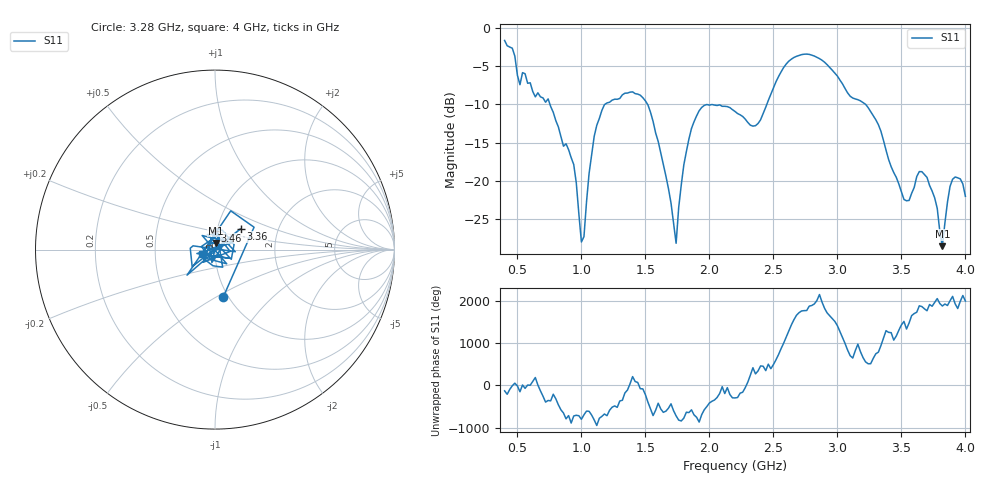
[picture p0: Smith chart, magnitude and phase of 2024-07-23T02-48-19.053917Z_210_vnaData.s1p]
!Created with skrf (http://scikit-rf.org).
# Hz S RI R 50.0
!freq ReS11 ImS11
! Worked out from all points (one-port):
!   181 points, 400 MHz to 4 GHz, reference 50 ohm
!   lowest |S11| = -28.5 dB at 3.82 GHz (marker M1), VSWR 1.08, Z = 50.4 + j3.76 ohm
!   |S11| at or under -10 dB: 754.1 MHz to 1.184 GHz (430 MHz wide, 44.4 % of centre); 1.517 GHz to 2.449 GHz (932.1 MHz wide, 47 % of centre); 3.22 GHz to end of sweep
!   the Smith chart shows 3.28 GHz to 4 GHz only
!   S11 on the Smith chart (normalised r, x): 3.28 GHz: 0.95, -0.54; 3.36 GHz: 1.29, +0.31; 3.46 GHz: 0.98, +0.21; 4 GHz: 0.86, -0.04
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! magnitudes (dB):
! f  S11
! 400 MHz  -1.7
! 520 MHz  -7.4
! 740 MHz  -9.3
! 860 MHz  -15.5
! 940 MHz  -17.8
! 1 GHz  -27.9
! 1.12 GHz  -12.7
! 1.3 GHz  -9.2
! 1.52 GHz  -10.1
! 1.66 GHz  -19.3
! 1.74 GHz  -28.1
! 1.76 GHz  -23.5
! 1.84 GHz  -14.5
! 1.92 GHz  -10.8
! 2.2 GHz  -10.9
! 2.38 GHz  -12.5
! 2.66 GHz  -3.9
! 2.88 GHz  -4.3
! 3.1 GHz  -8.9
! 3.28 GHz  -11.5
! 3.36 GHz  -14.7
! 3.46 GHz  -19.5
! 3.56 GHz  -22.5
! 3.64 GHz  -18.8
! 3.7 GHz  -19.5
! 3.82 GHz  -28.5
! 3.9 GHz  -19.8
! 4 GHz  -22.0
